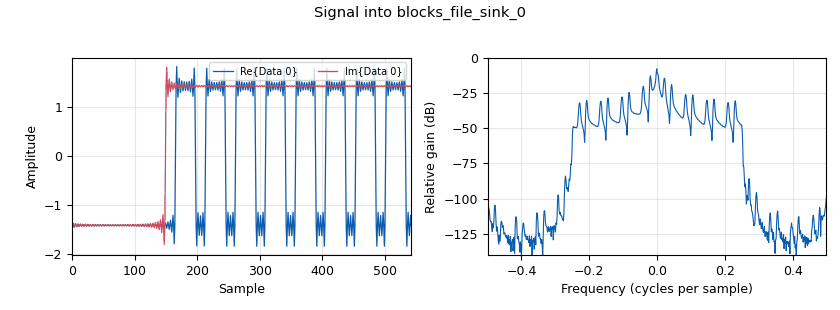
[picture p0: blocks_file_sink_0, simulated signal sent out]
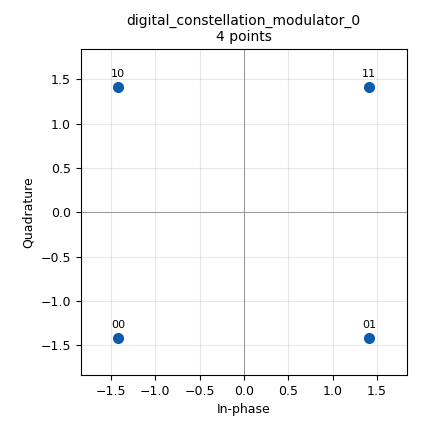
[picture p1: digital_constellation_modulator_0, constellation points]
options:
  parameters:
    author: Naoki Pross
    generate_options: no_gui
    id: acgen
    output_language: python
    run_options: run
    title: Access Code Symbols Generator
  states: {}

blocks:
- name: access_code
  id: variable
  parameters:
    value: '[ 0xaa, 0xff, 0xff ]'
  states: {}
- name: const
  id: variable_constellation
  parameters:
    precision: '8'
    type: qpsk
  states: {}
- name: excess_bw
  id: variable
  parameters:
    value: '1'
  states: {}
- name: padding_zeros
  id: variable
  parameters:
    value: '10'
  states: {}
- name: samp_rate
  id: variable
  parameters:
    value: '32000'
  states: {}
- name: sps
  id: variable
  parameters:
    value: '4'
  states: {}
- name: blocks_file_sink_0
  id: blocks_file_sink
  parameters:
    file: acgen.dat
    type: complex
  states: {}
- name: blocks_throttle_0
  id: blocks_throttle
  parameters:
    samples_per_second: samp_rate
    type: byte
  states: {}
- name: blocks_vector_source_x_0
  id: blocks_vector_source_x
  parameters:
    repeat: 'False'
    type: byte
    vector: '[0x00] * padding_zeros + access_code * 10'
  states: {}
- name: digital_constellation_modulator_0
  id: digital_constellation_modulator
  parameters:
    constellation: const
    differential: 'False'
    excess_bw: excess_bw
    samples_per_symbol: sps
  states: {}

connections:
- [blocks_throttle_0, '0', digital_constellation_modulator_0, '0']
- [blocks_vector_source_x_0, '0', blocks_throttle_0, '0']
- [digital_constellation_modulator_0, '0', blocks_file_sink_0, '0']

metadata:
  file_format: 1
